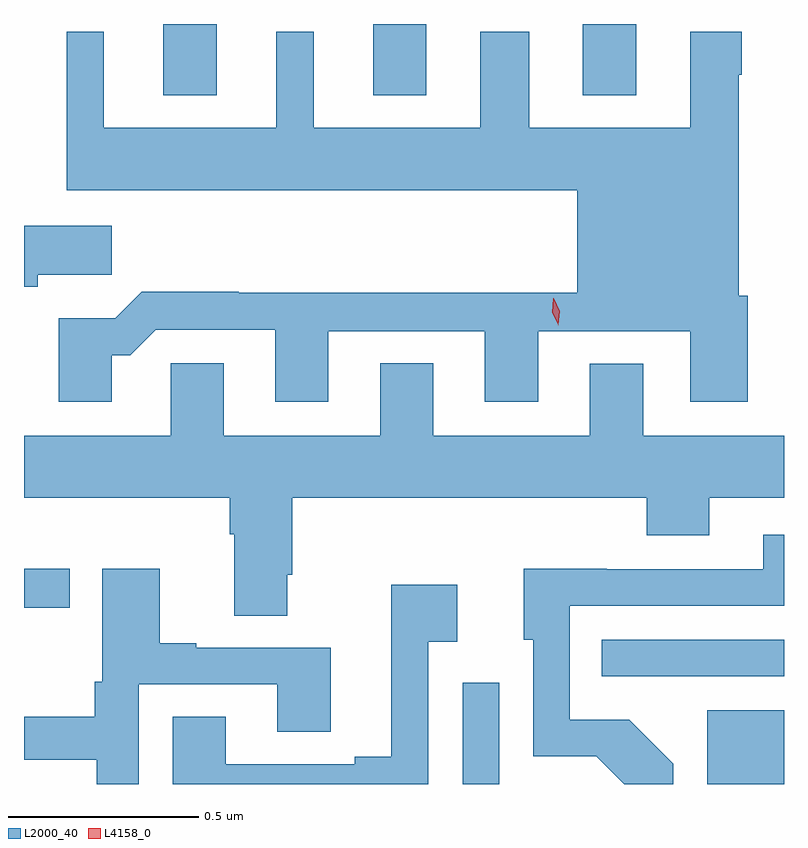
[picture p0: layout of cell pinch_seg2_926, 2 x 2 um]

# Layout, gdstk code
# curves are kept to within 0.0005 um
import gdstk
lib = gdstk.Library(unit=1e-6, precision=1e-09)
def R(c, l, rs):  # rectangles x0, y0, x1, y1
    for r in rs: c.add(gdstk.rectangle(r[:2], r[2:], *l))
def A(c, l, x, y, w, h, nx, ny, dx, dy):  # array of equal rectangles
    R(c, l, [(x+i*dx, y+j*dy, x+i*dx+w, y+j*dy+h) for i in range(nx) for j in range(ny)])
def P(c, l, *ps):  # polygons
    for p in ps: c.add(gdstk.Polygon(p, *l))
L2000_40 = (2000, 40)
L4158_0 = (4158, 0)

pinch_seg2_926 = lib.new_cell('pinch_seg2_926')
A(pinch_seg2_926, L2000_40, 448.535, 650.027, 0.14, 0.188, 3, 1, 0.552, 0)
R(pinch_seg2_926, L2000_40, [(449.322,648.215,449.418,648.481), (449.966,648.215,450.168,648.409), (449.689,648.498,450.168,648.594), (448.168,648.679,448.288,648.782)])
P(pinch_seg2_926, L2000_40, [(448.399,649.343),(448.448,649.343),(448.515,649.41),(448.829,649.41),(448.829,649.221),(448.969,649.221),(448.969,649.407),(449.381,649.407),(449.381,649.221),(449.521,649.221),(449.521,649.407),(449.921,649.406),(449.921,649.221),(450.073,649.221),(450.073,649.5),(450.049,649.5),(450.049,650.081),(450.057,650.081),(450.057,650.194),(449.921,650.194),(449.921,649.942),(449.497,649.942),(449.497,650.194),(449.369,650.194),(449.369,649.942),(448.93,649.942),(448.93,650.194),(448.832,650.194),(448.832,649.942),(448.378,649.942),(448.378,650.194),(448.28,650.194),(448.28,649.778),(449.624,649.778),(449.624,649.508),(448.733,649.508),(448.733,649.511),(448.478,649.511),(448.408,649.441),(448.259,649.441),(448.259,649.221),(448.399,649.221)],
  [(448.204,649.555),(448.399,649.555),(448.399,649.684),(448.168,649.684),(448.168,649.523),(448.204,649.523)],
  [(448.861,648.766),(448.874,648.766),(448.874,648.968),(449.807,648.968),(449.807,648.869),(449.971,648.869),(449.971,648.968),(450.168,648.968),(450.168,649.132),(449.797,649.132),(449.797,649.321),(449.657,649.321),(449.657,649.132),(449.245,649.132),(449.245,649.322),(449.105,649.322),(449.105,649.132),(448.693,649.132),(448.693,649.322),(448.554,649.322),(448.554,649.132),(448.168,649.132),(448.168,648.968),(448.709,648.968),(448.709,648.872),(448.721,648.872),(448.721,648.658),(448.861,648.658)],
  [(449.877,648.268),(449.761,648.384),(449.604,648.384),(449.604,648.684),(450.168,648.684),(450.168,648.871),(450.113,648.871),(450.113,648.78),(449.701,648.78),(449.701,648.782),(449.483,648.782),(449.483,648.594),(449.508,648.594),(449.508,648.288),(449.674,648.288),(449.747,648.215),(449.877,648.215)],
  [(448.47,648.477),(448.835,648.477),(448.835,648.352),(448.975,648.352),(448.975,648.573),(448.621,648.573),(448.621,648.586),(448.525,648.586),(448.525,648.781),(448.374,648.781),(448.374,648.484),(448.354,648.484),(448.354,648.392),(448.168,648.392),(448.168,648.279),(448.359,648.279),(448.359,648.215),(448.47,648.215)],
  [(449.232,648.59),(449.308,648.59),(449.308,648.739),(449.135,648.739),(449.135,648.287),(449.039,648.287),(449.039,648.267),(448.699,648.267),(448.699,648.392),(448.559,648.392),(448.559,648.215),(449.232,648.215)])
P(pinch_seg2_926, L4158_0, [(449.574,649.422),(449.574,649.423),(449.558,649.456),(449.561,649.493),(449.562,649.493),(449.562,649.493),(449.578,649.459),(449.574,649.423)])

lib.write_gds('pinch_seg2_926.gds')
